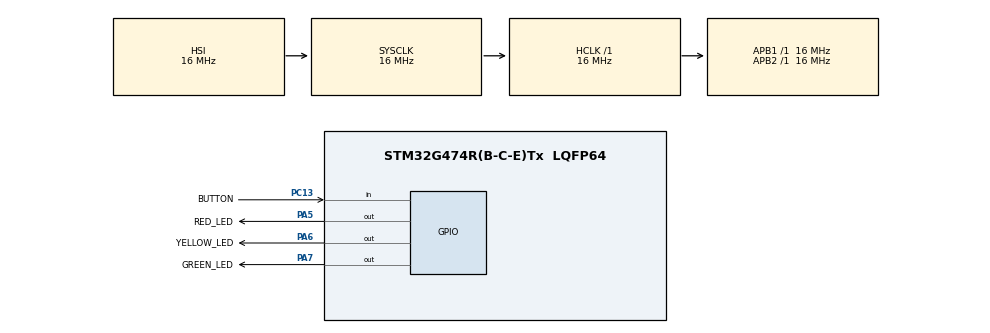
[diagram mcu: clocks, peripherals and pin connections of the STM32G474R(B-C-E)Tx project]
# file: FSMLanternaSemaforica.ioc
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Mcu.Family=STM32G4
Mcu.Name=STM32G474R(B-C-E)Tx
Mcu.Package=LQFP64
NVIC.PriorityGroup=NVIC_PRIORITYGROUP_4
NVIC.TIM6_DAC_IRQn=true\:0\:0\:false\:false\:true\:true\:true\:true
PA5.GPIO_Label=RED_LED
PA5.Signal=GPIO_Output
PA6.GPIO_Label=YELLOW_LED
PA6.Signal=GPIO_Output
PA7.GPIO_Label=GREEN_LED
PA7.Signal=GPIO_Output
PC13.GPIO_Label=BUTTON
PC13.Signal=GPIO_Input
ProjectManager.HeapSize=0x200
ProjectManager.StackSize=0x400
ProjectManager.TargetToolchain=STM32CubeIDE
RCC.AHBFreq_Value=16000000
RCC.APB1Freq_Value=16000000
RCC.APB1TimFreq_Value=16000000
RCC.APB2Freq_Value=16000000
RCC.APB2TimFreq_Value=16000000
RCC.CortexFreq_Value=16000000
RCC.EXTERNAL_CLOCK_VALUE=12288000
RCC.HCLKFreq_Value=16000000
RCC.HSE_VALUE=8000000
RCC.HSI48_VALUE=48000000
RCC.HSI_VALUE=16000000
RCC.LSE_VALUE=32768
RCC.SYSCLKFreq_VALUE=16000000
RCC.USBFreq_Value=64000000
RCC.VCOOutputFreq_Value=128000000
TIM6.PeriodNoDither=9999
TIM6.Prescaler=15999
VP_TIM6_VS_ClockSourceINT.Mode=Enable_Timer
board=custom

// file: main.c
/* USER CODE BEGIN Header */
/**
  ******************************************************************************
  * @file           : main.c
  * @brief          : Main program body
  ******************************************************************************
  * @attention
  *
  * Copyright (c) 2024 STMicroelectronics.
  * All rights reserved.
  *
  * This software is licensed under terms that can be found in the LICENSE file
  * in the root directory of this software component.
  * If no LICENSE file comes with this software, it is provided AS-IS.
  *
  ******************************************************************************
  */
/* USER CODE END Header */
#include "main.h"
#include "tim.h"
#include "gpio.h"

/* USER CODE BEGIN Includes */
#include "led.h"
#include "button.h"
#include "timer.h"
#include "fsm_logic.h"
/* USER CODE END Includes */

void SystemClock_Config(void);

int main(void)
{

  /* USER CODE BEGIN 1 */
	led_t red_led;
	led_t yellow_led;
	led_t green_led;
	button_t button;
	timer_t mytimer;
  /* USER CODE END 1 */

  /* MCU Configuration--------------------------------------------------------*/

  /* Reset of all peripherals, Initializes the Flash interface and the Systick. */
  HAL_Init();

  /* Configure the system clock */
  SystemClock_Config();

  /* Initialize all configured peripherals */
  MX_GPIO_Init();
  MX_TIM6_Init();
  /* USER CODE BEGIN 2 */
  if(led_init(&red_led, RED_LED_GPIO_Port, RED_LED_Pin, LED_INIT_STATE_OFF) != LED_OK){return -1;}
  if(led_init(&yellow_led, YELLOW_LED_GPIO_Port, YELLOW_LED_Pin, LED_INIT_STATE_OFF) != LED_OK){return -1;}
  if(led_init(&green_led, GREEN_LED_GPIO_Port, GREEN_LED_Pin, LED_INIT_STATE_OFF) != LED_OK){return -1;}
  if(button_init(&button, BUTTON_GPIO_Port, BUTTON_Pin, BUTTON_INIT_STATE_OFF) != BUTTON_OK){return -1;}
  if(timer_init(&mytimer, &htim6, TIM_IN_FREQUENCY) != TIMER_OK){return -1;}
  if(FSM_init(&red_led, &yellow_led, &green_led ,&button, &mytimer) != FSM_OK){return -1;}
  /* USER CODE END 2 */

  /* Infinite loop */
  while (1){

    /* USER CODE BEGIN 3 */
  	if(FSM_step() != FSM_OK){return -1;}
  }
  /* USER CODE END 3 */
}

void SystemClock_Config(void)
{
  RCC_OscInitTypeDef RCC_OscInitStruct = {0};
  RCC_ClkInitTypeDef RCC_ClkInitStruct = {0};

  /** Configure the main internal regulator output voltage
  */
  HAL_PWREx_ControlVoltageScaling(PWR_REGULATOR_VOLTAGE_SCALE1);

  /** Initializes the RCC Oscillators according to the specified parameters
  * in the RCC_OscInitTypeDef structure.
  */
  RCC_OscInitStruct.OscillatorType = RCC_OSCILLATORTYPE_HSI;
  RCC_OscInitStruct.HSIState = RCC_HSI_ON;
  RCC_OscInitStruct.HSICalibrationValue = RCC_HSICALIBRATION_DEFAULT;
  RCC_OscInitStruct.PLL.PLLState = RCC_PLL_NONE;
  if (HAL_RCC_OscConfig(&RCC_OscInitStruct) != HAL_OK)
  {
    Error_Handler();
  }

  /** Initializes the CPU, AHB and APB buses clocks
  */
  RCC_ClkInitStruct.ClockType = RCC_CLOCKTYPE_HCLK|RCC_CLOCKTYPE_SYSCLK
                              |RCC_CLOCKTYPE_PCLK1|RCC_CLOCKTYPE_PCLK2;
  RCC_ClkInitStruct.SYSCLKSource = RCC_SYSCLKSOURCE_HSI;
  RCC_ClkInitStruct.AHBCLKDivider = RCC_SYSCLK_DIV1;
  RCC_ClkInitStruct.APB1CLKDivider = RCC_HCLK_DIV1;
  RCC_ClkInitStruct.APB2CLKDivider = RCC_HCLK_DIV1;

  if (HAL_RCC_ClockConfig(&RCC_ClkInitStruct, FLASH_LATENCY_0) != HAL_OK)
  {
    Error_Handler();
  }
}

void Error_Handler(void)
{
  __disable_irq();
  while (1)
  {
  }
}
